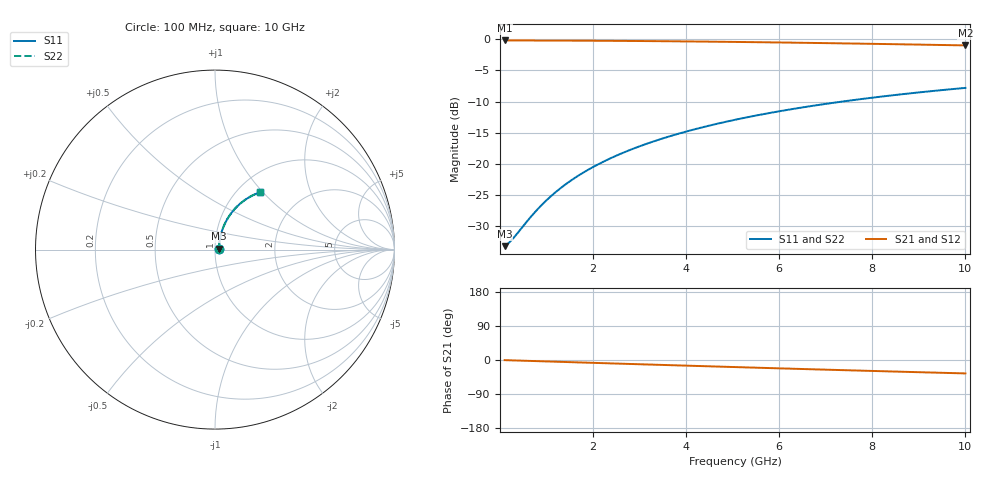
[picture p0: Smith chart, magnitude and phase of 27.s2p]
# Hz S RI R 50.00
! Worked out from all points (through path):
!   100 points, 100 MHz to 10 GHz, reference 50 ohm
!   highest |S21| = -0.19 dB at 100 MHz (marker M1); lowest = -1.0 dB at 10 GHz (marker M2)
!   group delay of S21, straight-line fit = 9.87 ps
!   lowest |S11| = -33.2 dB at 100 MHz (marker M3), VSWR 1.04, Z = 52.2 + j0.467 ohm
!   |S11| at or under -10 dB: start of sweep to 7.355 GHz
!   |S22| runs from -33.2 to -7.8 dB; largest |S21 - S12| = 0
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1e8  0.0214 0.00447  0.9786 -0.00642  0.9786 -0.00642  0.0214 0.00447
2e8  0.0216 0.00894  0.9784 -0.0128  0.9784 -0.0128  0.0216 0.00894
3e8  0.0218 0.0134  0.9781 -0.0193  0.9781 -0.0193  0.0218 0.0134
7e8  0.0233 0.0312  0.9766 -0.0449  0.9766 -0.0449  0.0233 0.0312
8e8  0.0238 0.0356  0.9761 -0.0512  0.9761 -0.0512  0.0238 0.0356
1e9  0.0249 0.0445  0.9749 -0.064  0.9749 -0.064  0.0249 0.0445
1.2e9  0.0263 0.0533  0.9734 -0.0767  0.9734 -0.0767  0.0263 0.0533
1.4e9  0.0279 0.062  0.9717 -0.0894  0.9717 -0.0894  0.0279 0.062
1.6e9  0.0297 0.0707  0.9698 -0.102  0.9698 -0.102  0.0297 0.0707
1.8e9  0.0317 0.0794  0.9677 -0.1145  0.9677 -0.1145  0.0317 0.0794
2.1e9  0.0351 0.0922  0.964 -0.1332  0.964 -0.1332  0.0351 0.0922
2.5e9  0.0405 0.109  0.9583 -0.1579  0.9583 -0.1579  0.0405 0.109
2.9e9  0.0466 0.1255  0.9517 -0.1822  0.9517 -0.1822  0.0466 0.1255
3.4e9  0.0555 0.1455  0.9422 -0.2119  0.9422 -0.2119  0.0555 0.1455
3.8e9  0.0634 0.161  0.9337 -0.2353  0.9337 -0.2353  0.0634 0.161
4.2e9  0.0721 0.1759  0.9245 -0.2581  0.9245 -0.2581  0.0721 0.1759
5.1e9  0.094 0.2075  0.9009 -0.3074  0.9009 -0.3074  0.094 0.2075
5.9e9  0.116 0.2329  0.8771 -0.3486  0.8771 -0.3486  0.116 0.2329
6.7e9  0.14 0.2557  0.8511 -0.3872  0.8511 -0.3872  0.14 0.2557
7.5e9  0.1656 0.2757  0.8233 -0.4231  0.8233 -0.4231  0.1656 0.2757
8.4e9  0.1959 0.2947  0.7901 -0.4601  0.7901 -0.4601  0.1959 0.2947
1e10  0.252 0.3197  0.728 -0.5172  0.728 -0.5172  0.252 0.3197
